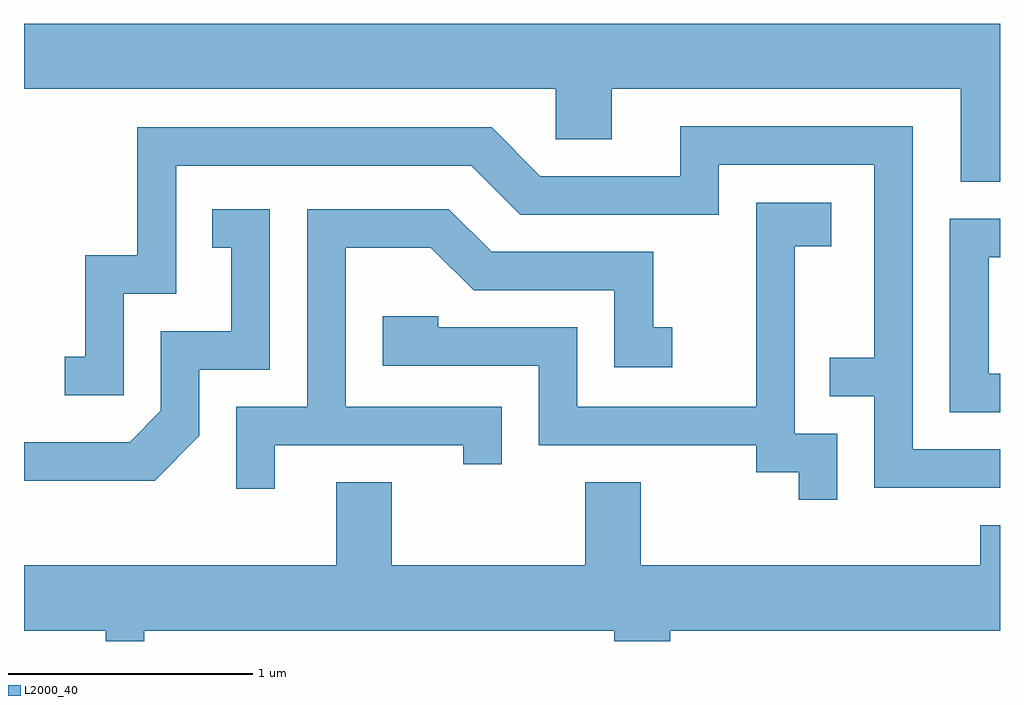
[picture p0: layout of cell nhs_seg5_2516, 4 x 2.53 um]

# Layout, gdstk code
import gdstk
lib = gdstk.Library(unit=1e-6, precision=1e-09)
def P(c, l, *ps):  # polygons
    for p in ps: c.add(gdstk.Polygon(p, *l))
L2000_40 = (2000, 40)

nhs_seg5_2516 = lib.new_cell('nhs_seg5_2516')
P(nhs_seg5_2516, L2000_40, [(263.611,1472.604),(259.611,1472.604),(259.611,1472.336),(261.791,1472.336),(261.791,1472.131),(262.019,1472.131),(262.019,1472.336),(263.451,1472.336),(263.451,1471.956),(263.611,1471.956)],
  [(263.611,1470.859),(263.254,1470.859),(263.254,1472.184),(262.301,1472.184),(262.301,1471.979),(261.727,1471.979),(261.527,1472.179),(260.076,1472.179),(260.076,1471.654),(259.861,1471.654),(259.861,1471.239),(259.778,1471.239),(259.778,1471.081),(260.019,1471.081),(260.019,1471.496),(260.234,1471.496),(260.234,1472.021),(261.444,1472.021),(261.644,1471.821),(262.459,1471.821),(262.459,1472.026),(263.096,1472.026),(263.096,1471.234),(262.913,1471.234),(262.913,1471.076),(263.096,1471.076),(263.096,1470.701),(263.611,1470.701)],
  [(262.944,1470.924),(262.769,1470.924),(262.769,1471.691),(262.919,1471.691),(262.919,1471.869),(262.611,1471.869),(262.611,1471.034),(261.879,1471.034),(261.879,1471.359),(261.309,1471.359),(261.309,1471.404),(261.081,1471.404),(261.081,1471.201),(261.721,1471.201),(261.721,1470.876),(262.611,1470.876),(262.611,1470.766),(262.786,1470.766),(262.786,1470.653),(262.944,1470.653)],
  [(260.329,1470.914),(260.329,1471.186),(260.619,1471.186),(260.619,1471.844),(260.383,1471.844),(260.383,1471.686),(260.461,1471.686),(260.461,1471.344),(260.171,1471.344),(260.171,1471.017),(260.044,1470.889),(259.611,1470.889),(259.611,1470.731),(260.147,1470.731)],
  [(260.639,1470.876),(261.411,1470.876),(261.411,1470.798),(261.569,1470.798),(261.569,1471.034),(260.929,1471.034),(260.929,1471.686),(261.279,1471.686),(261.454,1471.511),(262.031,1471.511),(262.031,1471.196),(262.268,1471.196),(262.268,1471.359),(262.189,1471.359),(262.189,1471.669),(261.527,1471.669),(261.352,1471.844),(260.771,1471.844),(260.771,1471.034),(260.481,1471.034),(260.481,1470.698),(260.639,1470.698)],
  [(263.611,1471.169),(263.564,1471.169),(263.564,1471.646),(263.611,1471.646),(263.611,1471.804),(263.406,1471.804),(263.406,1471.011),(263.611,1471.011)],
  [(260.104,1470.116),(262.031,1470.116),(262.031,1470.072),(262.259,1470.072),(262.259,1470.116),(263.611,1470.116),(263.611,1470.549),(263.531,1470.549),(263.531,1470.384),(262.139,1470.384),(262.139,1470.724),(261.911,1470.724),(261.911,1470.384),(261.119,1470.384),(261.119,1470.724),(260.891,1470.724),(260.891,1470.384),(259.611,1470.384),(259.611,1470.116),(259.946,1470.116),(259.946,1470.072),(260.104,1470.072)])

lib.write_gds('nhs_seg5_2516.gds')
